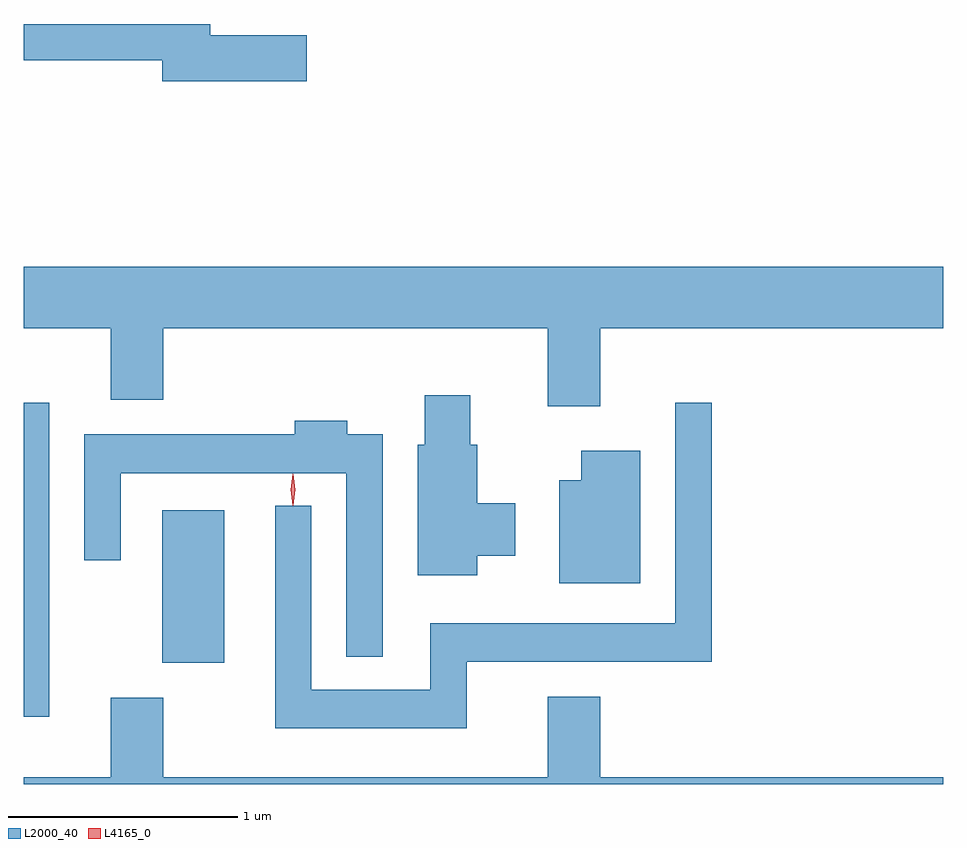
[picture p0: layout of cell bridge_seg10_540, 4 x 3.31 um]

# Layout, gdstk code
import gdstk
lib = gdstk.Library(unit=1e-6, precision=1e-09)
def R(c, l, rs):  # rectangles x0, y0, x1, y1
    for r in rs: c.add(gdstk.rectangle(r[:2], r[2:], *l))
def P(c, l, *ps):  # polygons
    for p in ps: c.add(gdstk.Polygon(p, *l))
L2000_40 = (2000, 40)
L4165_0 = (4165, 0)

bridge_seg10_540 = lib.new_cell('bridge_seg10_540')
R(bridge_seg10_540, L2000_40, [(801.852,2167.726,801.964,2169.093), (802.456,2167.961,802.724,2168.624)])
P(bridge_seg10_540, L2000_40, [(803.084,2170.689),(802.664,2170.689),(802.664,2170.739),(801.852,2170.739),(801.852,2170.581),(802.456,2170.581),(802.456,2170.491),(803.084,2170.491)],
  [(804.359,2169.416),(805.852,2169.416),(805.852,2169.684),(801.852,2169.684),(801.852,2169.416),(802.231,2169.416),(802.231,2169.106),(802.459,2169.106),(802.459,2169.416),(804.131,2169.416),(804.131,2169.076),(804.359,2169.076)],
  [(803.824,2168.426),(803.989,2168.426),(803.989,2168.654),(803.824,2168.654),(803.824,2168.909),(803.794,2168.909),(803.794,2169.124),(803.596,2169.124),(803.596,2168.909),(803.566,2168.909),(803.566,2168.341),(803.824,2168.341)],
  [(803.779,2167.966),(804.844,2167.966),(804.844,2169.093),(804.686,2169.093),(804.686,2168.134),(803.621,2168.134),(803.621,2167.844),(803.104,2167.844),(803.104,2168.643),(802.946,2168.643),(802.946,2167.676),(803.779,2167.676)],
  [(803.414,2168.954),(803.259,2168.954),(803.259,2169.014),(803.031,2169.014),(803.031,2168.954),(802.116,2168.954),(802.116,2168.408),(802.274,2168.408),(802.274,2168.786),(803.256,2168.786),(803.256,2167.988),(803.414,2167.988)],
  [(804.534,2168.884),(804.276,2168.884),(804.276,2168.754),(804.181,2168.754),(804.181,2168.306),(804.534,2168.306)],
  [(805.852,2167.464),(804.359,2167.464),(804.359,2167.814),(804.131,2167.814),(804.131,2167.464),(802.459,2167.464),(802.459,2167.809),(802.231,2167.809),(802.231,2167.464),(801.852,2167.464),(801.852,2167.434),(805.852,2167.434)])
P(bridge_seg10_540, L4165_0, [(803.023,2168.644),(803.023,2168.644),(803.013,2168.713),(803.023,2168.782),(803.023,2168.783),(803.024,2168.782),(803.033,2168.713),(803.024,2168.644)],
  [(803.023,2168.647),(803.023,2168.647),(803.013,2168.714),(803.023,2168.78),(803.023,2168.78),(803.024,2168.78),(803.033,2168.714),(803.024,2168.647)])

lib.write_gds('bridge_seg10_540.gds')
